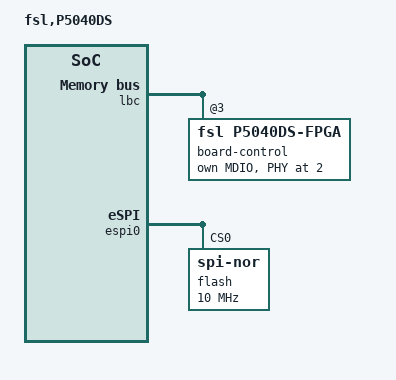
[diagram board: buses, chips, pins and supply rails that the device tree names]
// SPDX-License-Identifier: GPL-2.0+ OR X11
/*
 * P5040DS Device Tree Source
 *
 * Copyright 2012 - 2015 Freescale Semiconductor Inc.
 * Copyright 2019-2020 NXP
 */

/include/ "p5040.dtsi"

/ {
	model = "fsl,P5040DS";
	compatible = "fsl,P5040DS";
	#address-cells = <2>;
	#size-cells = <2>;
	interrupt-parent = <&mpic>;

	aliases{
		phy_sgmii_slot2_1c = &phy_sgmii_slot2_1c;
		phy_sgmii_slot2_1d = &phy_sgmii_slot2_1d;
		phy_sgmii_slot2_1e = &phy_sgmii_slot2_1e;
		phy_sgmii_slot2_1f = &phy_sgmii_slot2_1f;
		phy_sgmii_slot3_1c = &phy_sgmii_slot3_1c;
		phy_sgmii_slot3_1d = &phy_sgmii_slot3_1d;
		phy_sgmii_slot3_1e = &phy_sgmii_slot3_1e;
		phy_sgmii_slot3_1f = &phy_sgmii_slot3_1f;
		phy_sgmii_slot5_1c = &phy_sgmii_slot5_1c;
		phy_sgmii_slot5_1d = &phy_sgmii_slot5_1d;
		phy_sgmii_slot5_1e = &phy_sgmii_slot5_1e;
		phy_sgmii_slot5_1f = &phy_sgmii_slot5_1f;
		phy_sgmii_slot6_1c = &phy_sgmii_slot6_1c;
		phy_sgmii_slot6_1d = &phy_sgmii_slot6_1d;
		phy_sgmii_slot6_1e = &phy_sgmii_slot6_1e;
		phy_sgmii_slot6_1f = &phy_sgmii_slot6_1f;
		hydra_rg = &hydra_rg;
		hydra_sg_slot2 = &hydra_sg_slot2;
		hydra_sg_slot3 = &hydra_sg_slot3;
		hydra_sg_slot5 = &hydra_sg_slot5;
		hydra_sg_slot6 = &hydra_sg_slot6;
		hydra_xg_slot1 = &hydra_xg_slot1;
		hydra_xg_slot2 = &hydra_xg_slot2;
		spi0 = &espi0;
	};

	soc: soc@ffe000000 {
		ranges = <0x00000000 0xf 0xfe000000 0x1000000>;
		reg = <0xf 0xfe000000 0 0x00001000>;

		fman@400000 {
			ethernet@e0000 {
				phy-connection-type = "sgmii";
			};

			ethernet@e2000 {
				phy-connection-type = "sgmii";
			};

			ethernet@e4000 {
				phy-connection-type = "sgmii";
			};

			ethernet@e6000 {
				phy-connection-type = "sgmii";
			};

			ethernet@e8000 {
				phy-handle = <&phy_rgmii_0>;
				phy-connection-type = "rgmii";
			};

			ethernet@f0000 {
				phy-handle = <&phy_xgmii_slot_2>;
				phy-connection-type = "xgmii";
			};
		};

		fman@500000 {
			ethernet@e0000 {
				phy-connection-type = "sgmii";
			};

			ethernet@e2000 {
				phy-connection-type = "sgmii";
			};

			ethernet@e4000 {
				phy-connection-type = "sgmii";
			};

			ethernet@e6000 {
				phy-connection-type = "sgmii";
			};

			ethernet@e8000 {
				phy-handle = <&phy_rgmii_1>;
				phy-connection-type = "rgmii";
			};

			ethernet@f0000 {
				phy-handle = <&phy_xgmii_slot_1>;
				phy-connection-type = "xgmii";
			};
		};
	};

	lbc: localbus@ffe124000 {
		reg = <0xf 0xfe124000 0 0x1000>;
		ranges = <0 0 0xf 0xe8000000 0x08000000
			  2 0 0xf 0xffa00000 0x00040000
			  3 0 0xf 0xffdf0000 0x00008000>;

		board-control@3,0 {
			#address-cells = <1>;
			#size-cells = <1>;
			compatible = "fsl,p5040ds-fpga", "fsl,fpga-ngpixis";
			reg = <3 0 0x40>;
			ranges = <0 3 0 0x40>;

			mdio-mux-emi1 {
				#address-cells = <1>;
				#size-cells = <0>;
				compatible = "mdio-mux-mmioreg", "mdio-mux";
				mdio-parent-bus = <&mdio0>;
				reg = <9 1>;
				mux-mask = <0x78>;

				hydra_rg:rgmii-mdio@8 {
					#address-cells = <1>;
					#size-cells = <0>;
					reg = <8>;
					status = "disabled";

					phy_rgmii_0: ethernet-phy@0 {
						reg = <0x0>;
					};

					phy_rgmii_1: ethernet-phy@1 {
						reg = <0x1>;
					};
				};

				hydra_sg_slot2: sgmii-mdio@28 {
					#address-cells = <1>;
					#size-cells = <0>;
					reg = <0x28>;
					status = "disabled";

					phy_sgmii_slot2_1c: ethernet-phy@1c {
						reg = <0x1c>;
					};

					phy_sgmii_slot2_1d: ethernet-phy@1d {
						reg = <0x1d>;
					};

					phy_sgmii_slot2_1e: ethernet-phy@1e {
						reg = <0x1e>;
					};

					phy_sgmii_slot2_1f: ethernet-phy@1f {
						reg = <0x1f>;
					};
				};

				hydra_sg_slot3: sgmii-mdio@68 {
					#address-cells = <1>;
					#size-cells = <0>;
					reg = <0x68>;
					status = "disabled";

					phy_sgmii_slot3_1c: ethernet-phy@1c {
						reg = <0x1c>;
					};

					phy_sgmii_slot3_1d: ethernet-phy@1d {
						reg = <0x1d>;
					};

					phy_sgmii_slot3_1e: ethernet-phy@1e {
						reg = <0x1e>;
					};

					phy_sgmii_slot3_1f: ethernet-phy@1f {
						reg = <0x1f>;
					};
				};

				hydra_sg_slot5: sgmii-mdio@38 {
					#address-cells = <1>;
					#size-cells = <0>;
					reg = <0x38>;
					status = "disabled";

					phy_sgmii_slot5_1c: ethernet-phy@1c {
						reg = <0x1c>;
					};

					phy_sgmii_slot5_1d: ethernet-phy@1d {
						reg = <0x1d>;
					};

					phy_sgmii_slot5_1e: ethernet-phy@1e {
						reg = <0x1e>;
					};

					phy_sgmii_slot5_1f: ethernet-phy@1f {
						reg = <0x1f>;
					};
				};
				hydra_sg_slot6: sgmii-mdio@48 {
					#address-cells = <1>;
					#size-cells = <0>;
					reg = <0x48>;
					status = "disabled";

					phy_sgmii_slot6_1c: ethernet-phy@1c {
						reg = <0x1c>;
					};

					phy_sgmii_slot6_1d: ethernet-phy@1d {
						reg = <0x1d>;
					};

					phy_sgmii_slot6_1e: ethernet-phy@1e {
						reg = <0x1e>;
					};

					phy_sgmii_slot6_1f: ethernet-phy@1f {
						reg = <0x1f>;
					};
				};
			};

			mdio-mux-emi2 {
				#address-cells = <1>;
				#size-cells = <0>;
				compatible = "mdio-mux-mmioreg", "mdio-mux";
				mdio-parent-bus = <&xmdio0>;
				reg = <9 1>;
				mux-mask = <0x06>;

				hydra_xg_slot1: hydra-xg-slot1@0 {
					#address-cells = <1>;
					#size-cells = <0>;
					reg = <0>;
					status = "disabled";

					phy_xgmii_slot_1: ethernet-phy@0 {
						compatible = "ethernet-phy-ieee802.3-c45";
						reg = <4>;
					};
				};

				hydra_xg_slot2: hydra-xg-slot2@2 {
					#address-cells = <1>;
					#size-cells = <0>;
					reg = <2>;

					phy_xgmii_slot_2: ethernet-phy@4 {
						compatible = "ethernet-phy-ieee802.3-c45";
						reg = <0>;
					};
				};
			};
		};
	};
};

&espi0 {
	status = "okay";
	flash@0 {
		compatible = "jedec,spi-nor";
		#address-cells = <1>;
		#size-cells = <1>;
		reg = <0>;
		/* input clock */
		spi-max-frequency = <10000000>;
	};
};

/include/ "p5040si-post.dtsi"
